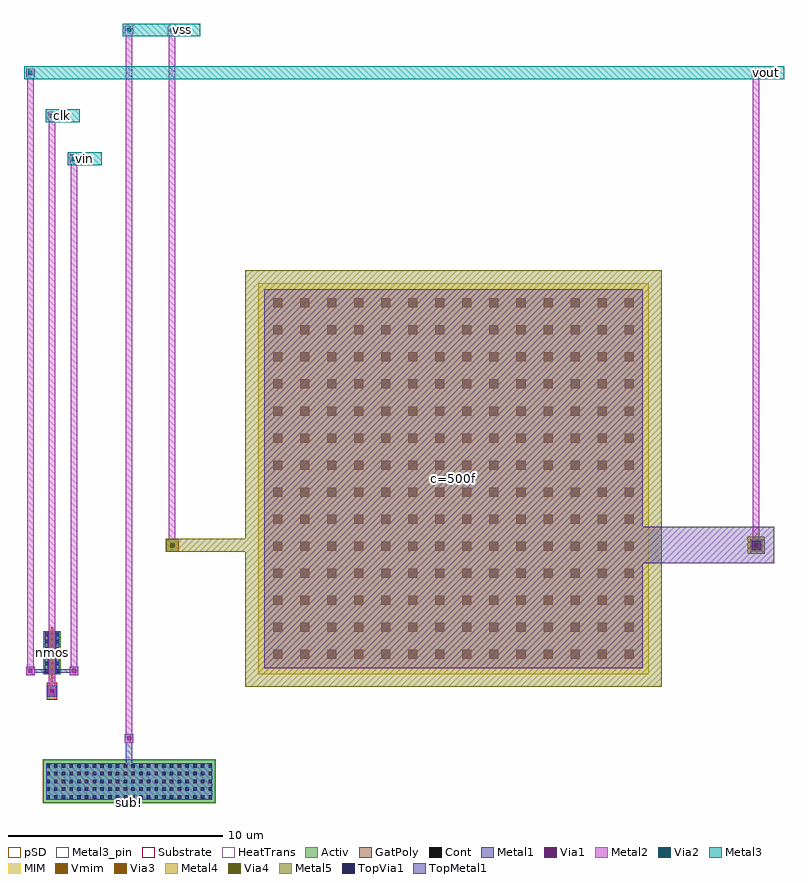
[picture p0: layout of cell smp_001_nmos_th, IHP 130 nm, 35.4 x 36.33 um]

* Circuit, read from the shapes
.subckt smp_001_nmos_th clk vin vout vss
XM1 vin clk vout vss sg13_lv_nmos w=2u l=0.13u
XC2 vout vss cap_cmim w=18.2u l=18.2u
.ends

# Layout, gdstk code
import gdstk
lib = gdstk.Library(unit=1e-6, precision=1e-09)
def R(c, l, rs):  # rectangles x0, y0, x1, y1
    for r in rs: c.add(gdstk.rectangle(r[:2], r[2:], *l))
def A(c, l, x, y, w, h, nx, ny, dx, dy):  # array of equal rectangles
    R(c, l, [(x+i*dx, y+j*dy, x+i*dx+w, y+j*dy+h) for i in range(nx) for j in range(ny)])
Activ = (1, 0)
GatPoly = (5, 0)
Cont = (6, 0)
Metal1 = (8, 0)
Metal2 = (10, 0)
pSD = (14, 0)
Via1 = (19, 0)
Via2 = (29, 0)
Metal3 = (30, 0)
Metal3_pin = (30, 2)
MIM = (36, 0)
Substrate = (40, 0)
Via3 = (49, 0)
Metal4 = (50, 0)
HeatTrans = (51, 0)
Via4 = (66, 0)
Metal5 = (67, 0)
TopVia1 = (125, 0)
TopMetal1 = (126, 0)
Vmim = (129, 0)

smp_001_nmos_th = lib.new_cell('smp_001_nmos_th')
R(smp_001_nmos_th, Activ, [(0,-6,8,-4), (0,0,0.3,0.3), (0,0,0.81,2), (0.51,0,0.81,0.3)])
R(smp_001_nmos_th, GatPoly, [(0.155,-1.2,0.655,-0.4), (0.34,-0.5,0.47,0), (0.34,-0.18,0.47,2.18)])
A(smp_001_nmos_th, Cont, 0.14, -5.8, 0.16, 0.16, 22, 5, 0.36, 0.36)
A(smp_001_nmos_th, Cont, 0.07, 0.07, 0.16, 0.16, 1, 6, 0, 0.34)
A(smp_001_nmos_th, Cont, 0.58, 0.07, 0.16, 0.16, 1, 6, 0, 0.34)
R(smp_001_nmos_th, Cont, [(0.325,-0.88,0.485,-0.72)])
R(smp_001_nmos_th, Metal1, [(0.14,-5.85,7.86,-4.15), (0.14,-5.8,7.86,-4.2), (3.8,-3.2,4.2,-2.8), (0.155,-1.05,0.655,-0.55), (0.205,-1,0.605,-0.6), (-0.8,-0.05,-0.4,0.35), (1.23,-0.05,1.63,0.35), (0.07,0,0.23,2), (0.58,0,0.74,2), (5.7,5.7,6.3,6.3), (32.9,5.7,33.5,6.3), (5.8,5.8,6.2,6.2), (33,5.8,33.4,6.2)])
R(smp_001_nmos_th, Metal2, [(3.8,-3.2,4.2,-2.8), (0.205,-1,0.605,-0.6), (-0.8,-0.05,-0.4,0.35), (1.23,-0.05,1.63,0.35), (5.7,5.7,6.3,6.3), (5.7,5.7,6.3,6.3), (32.9,5.7,33.5,6.3), (32.9,5.7,33.5,6.3), (5.8,5.8,6.2,6.2), (33,5.8,33.4,6.2), (1.23,23.8,1.63,24.2), (0.205,25.8,0.605,26.2), (-0.8,27.8,-0.4,28.2), (33,27.8,33.4,28.2), (3.8,29.8,4.2,30.2), (5.8,29.8,6.2,30.2)])
R(smp_001_nmos_th, pSD, [(-0.03,-6.03,8.03,-3.97)])
R(smp_001_nmos_th, Via1, [(3.905,-3.095,4.095,-2.905), (0.31,-0.895,0.5,-0.705), (-0.695,0.055,-0.505,0.245), (1.335,0.055,1.525,0.245), (5.905,5.905,6.095,6.095), (5.905,5.905,6.095,6.095), (33.105,5.905,33.295,6.095), (33.105,5.905,33.295,6.095)])
R(smp_001_nmos_th, Via2, [(5.905,5.905,6.095,6.095), (33.105,5.905,33.295,6.095), (1.335,23.905,1.525,24.095), (0.31,25.905,0.5,26.095), (-0.695,27.905,-0.505,28.095), (33.105,27.905,33.295,28.095), (3.905,29.905,4.095,30.095), (5.905,29.905,6.095,30.095)])
R(smp_001_nmos_th, Metal3, [(5.7,5.7,6.3,6.3), (5.7,5.7,6.3,6.3), (32.9,5.7,33.5,6.3), (32.9,5.7,33.5,6.3), (1.23,23.8,1.63,24.2), (0.205,25.8,0.605,26.2), (-0.8,27.8,-0.4,28.2), (33,27.8,33.4,28.2), (3.8,29.8,4.2,30.2), (5.8,29.8,6.2,30.2)])
R(smp_001_nmos_th, Metal3_pin, [(1.83,23.9,2.03,24.1), (0.805,25.9,1.005,26.1), (33.6,27.9,33.8,28.1), (6.4,29.9,6.6,30.1)])
R(smp_001_nmos_th, MIM, [(10,0,28.2,18.2)])
R(smp_001_nmos_th, Substrate, [(0,-6,8,-4)])
R(smp_001_nmos_th, Via3, [(5.905,5.905,6.095,6.095), (33.105,5.905,33.295,6.095)])
R(smp_001_nmos_th, Metal4, [(5.7,5.7,6.3,6.3), (5.7,5.7,6.3,6.3), (32.9,5.7,33.5,6.3), (32.9,5.7,33.5,6.3)])
R(smp_001_nmos_th, HeatTrans, [(0.34,-0.18,0.47,2.18)])
R(smp_001_nmos_th, Via4, [(5.905,5.905,6.095,6.095), (33.105,5.905,33.295,6.095)])
R(smp_001_nmos_th, Metal5, [(9.4,-0.6,28.8,18.8), (32.8,5.6,33.6,6.4), (5.7,5.7,6.3,6.3), (32.9,5.7,33.5,6.3)])
R(smp_001_nmos_th, TopVia1, [(32.99,5.79,33.41,6.21)])
R(smp_001_nmos_th, TopMetal1, [(10.28,0.28,27.92,17.92), (32.35,5.15,34.05,6.85)])
A(smp_001_nmos_th, Vmim, 10.7, 0.7, 0.42, 0.42, 14, 14, 1.26, 1.26)
smp_001_nmos_th.add(gdstk.FlexPath([(0.15,0.15),(-0.6,0.15)], 0.16, ends="extended", simple_path=True, layer=8, datatype=0))  # Metal1
smp_001_nmos_th.add(gdstk.FlexPath([(0.72,0.15),(1.43,0.15)], 0.16, ends="extended", simple_path=True, layer=8, datatype=0))  # Metal1
smp_001_nmos_th.add(gdstk.FlexPath([(4,-5),(4,-3)], 0.3, ends="extended", simple_path=True, layer=8, datatype=0))  # Metal1
smp_001_nmos_th.add(gdstk.FlexPath([(9.7,6),(6,6)], 0.6, ends="extended", simple_path=True, layer=67, datatype=0))  # Metal5
smp_001_nmos_th.add(gdstk.FlexPath([(19.1,6),(33.2,6)], 1.7, ends="extended", simple_path=True, layer=126, datatype=0))  # TopMetal1
smp_001_nmos_th.add(gdstk.FlexPath([(1.43,0.15),(1.43,24)], 0.3, ends="extended", simple_path=True, layer=10, datatype=0))  # Metal2
smp_001_nmos_th.add(gdstk.FlexPath([(0.405,-0.8),(0.405,26)], 0.3, ends="extended", simple_path=True, layer=10, datatype=0))  # Metal2
smp_001_nmos_th.add(gdstk.FlexPath([(-0.6,0.15),(-0.6,28)], 0.3, ends="extended", simple_path=True, layer=10, datatype=0))  # Metal2
smp_001_nmos_th.add(gdstk.FlexPath([(33.2,6),(33.2,28)], 0.3, ends="extended", simple_path=True, layer=10, datatype=0))  # Metal2
smp_001_nmos_th.add(gdstk.FlexPath([(4,-3),(4,30)], 0.3, ends="extended", simple_path=True, layer=10, datatype=0))  # Metal2
smp_001_nmos_th.add(gdstk.FlexPath([(6,6),(6,30)], 0.3, ends="extended", simple_path=True, layer=10, datatype=0))  # Metal2
smp_001_nmos_th.add(gdstk.FlexPath([(1.43,24),(2.43,24)], 0.6, ends="extended", simple_path=True, layer=30, datatype=0))  # Metal3
smp_001_nmos_th.add(gdstk.FlexPath([(0.405,26),(1.405,26)], 0.6, ends="extended", simple_path=True, layer=30, datatype=0))  # Metal3
smp_001_nmos_th.add(gdstk.FlexPath([(-0.6,28),(34.2,28)], 0.6, ends="extended", simple_path=True, layer=30, datatype=0))  # Metal3
smp_001_nmos_th.add(gdstk.FlexPath([(4,30),(7,30)], 0.6, ends="extended", simple_path=True, layer=30, datatype=0))  # Metal3
smp_001_nmos_th.add(gdstk.Label('nmos', (0.405,1), layer=63, texttype=0))
smp_001_nmos_th.add(gdstk.Label('sub!', (4,-5.99), layer=63, texttype=0))
smp_001_nmos_th.add(gdstk.Label('c=500f', (19.1,9.1), layer=63, texttype=0))
smp_001_nmos_th.add(gdstk.Label('cmim', (19.1,9.1), layer=63, texttype=0))
smp_001_nmos_th.add(gdstk.Label('nmos', (0.405,1), layer=51, texttype=0))
smp_001_nmos_th.add(gdstk.Label('sub!', (4,-5.99), layer=40, texttype=0))
smp_001_nmos_th.add(gdstk.Label('vin', (1.93,24), layer=30, texttype=25))
smp_001_nmos_th.add(gdstk.Label('clk', (0.905,26), layer=30, texttype=25))
smp_001_nmos_th.add(gdstk.Label('vout', (33.7,28), layer=30, texttype=25))
smp_001_nmos_th.add(gdstk.Label('vss', (6.5,30), layer=30, texttype=25))

lib.write_gds('smp_001_nmos_th.gds')
